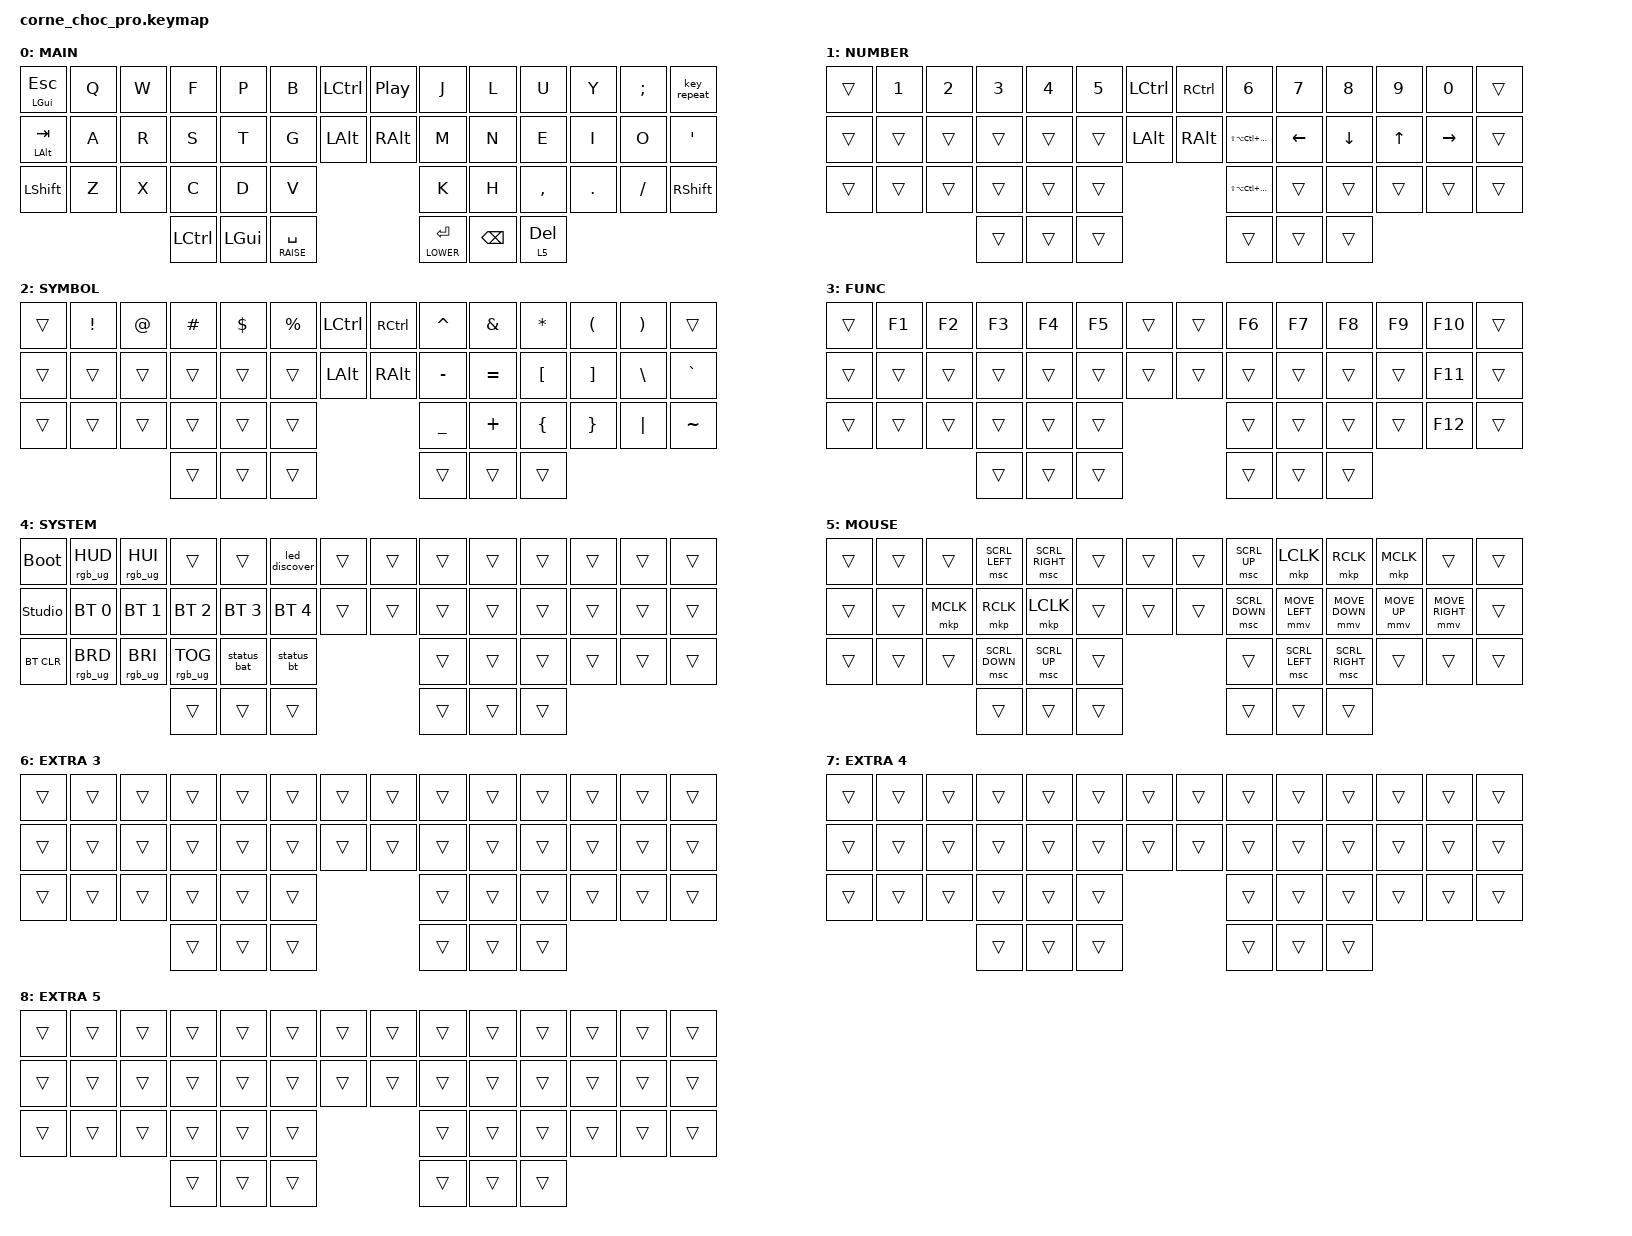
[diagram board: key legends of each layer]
/*
 * Copyright (c) 2020 The ZMK Contributors
 *
 * SPDX-License-Identifier: MIT
 */

#include <behaviors/status_leds.dtsi>
#include <behaviors.dtsi>
#include <dt-bindings/zmk/bt.h>
#include <dt-bindings/zmk/keys.h>
#include <dt-bindings/zmk/pointing.h>
#include <dt-bindings/zmk/rgb.h>

#define DEFAULT 0
#define LOWER   1
#define RAISE   2
#define FUNC    3
#define SYS     4

/ {
    behaviors {
        ht: hold_tap {
            compatible = "zmk,behavior-hold-tap";
            #binding-cells = <2>;
            flavor = "tap-preferred";
            tapping-term-ms = <150>;
            quick-tap-ms = <125>;
            bindings = <&kp>, <&kp>;
        };

        htb: hold_tap_balanced {
            compatible = "zmk,behavior-hold-tap";
            #binding-cells = <2>;
            flavor = "balanced";
            tapping-term-ms = <170>;
            quick-tap-ms = <125>;
            bindings = <&kp>, <&kp>;
        };

        bsht: back_space_hold_tap {
            compatible = "zmk,behavior-hold-tap";
            #binding-cells = <2>;
            flavor = "tap-preferred";
            tapping-term-ms = <150>;
            quick-tap-ms = <100>;
            bindings = <&kp>, <&kp>;
        };

        lt_hp: layer-tap-hold-preferred {
            compatible = "zmk,behavior-hold-tap";
            #binding-cells = <2>;
            tapping-term-ms = <150>;
            quick-tap-ms = <0>;
            flavor = "hold-preferred";
            bindings = <&mo>, <&kp>;
        };

        copy_paste: copy_paste {
            compatible = "zmk,behavior-tap-dance";
            label = "COPY_PASTE";
            #binding-cells = <0>;
            bindings = <&kp LG(C)>, <&kp LG(V)>;

            tapping-term-ms = <300>;
        };
    };
};

/ {
    conditional_layers {
        compatible = "zmk,conditional-layers";

        tri_layer {
            if-layers = <1 2>;
            then-layer = <3>;
        };
    };
};

/ {
    chosen { zmk,physical-layout = &default_layout; };
};

/ {
    combos {
        compatible = "zmk,combos";

        combo_cmd_right {
            bindings = <&kp LGUI>;
            key-positions = <9 23>;
        };

        combo_ctrl_right {
            bindings = <&kp LCTRL>;
            key-positions = <10 24>;
        };

        combo_shift_right {
            bindings = <&kp LSHFT>;
            key-positions = <26 12>;
        };

        combo_cmd_left {
            bindings = <&kp LGUI>;
            key-positions = <4 18>;
        };

        combo_ctrl_left {
            bindings = <&kp LCTRL>;
            key-positions = <3 17>;
        };

        combo_shift_left {
            bindings = <&kp LSHFT>;
            key-positions = <15 1>;
        };

        combo_alt_left {
            bindings = <&kp LALT>;
            key-positions = <2 16>;
        };

        combo_opt_right {
            bindings = <&kp LALT>;
            key-positions = <11 25>;
        };

        hyper_left {
            bindings = <&kp LS(LA(LC(LGUI)))>;
            key-positions = <4 3>;
        };

        hyper_right {
            bindings = <&kp LS(LA(LC(LGUI)))>;
            key-positions = <9 10>;
        };

        meh_left {
            bindings = <&kp LS(LC(LALT))>;
            key-positions = <41 42>;
        };

        combo_meh_right {
            bindings = <&kp LA(LS(LCTRL))>;
            key-positions = <43 44>;
        };

        combo_alt_ctrl_left {
            bindings = <&kp LC(LALT)>;
            key-positions = <19 18>;
        };

        combo_alt_ctrl_shft_left {
            bindings = <&kp LC(LS(LALT))>;
            key-positions = <18 32>;
        };

        tmux_leader_left {
            bindings = <&kp LC(SPACE)>;
            key-positions = <18 17>;
        };

        tmux_leader_right {
            bindings = <&kp LC(SPACE)>;
            key-positions = <23 24>;
        };

        sys_layer {
            bindings = <&mo 4>;
            key-positions = <7 21>;
        };
    };
};

/ {
    status_leds {
        compatible = "zmk,status-leds";
        led-strip = <&led_strip>;
        battery-leds = <18 17 12 11 4 3>;
        bt-leds = <16 13 10 5 2>;
    };
};

/ {
    keymap {
        compatible = "zmk,keymap";

        default_layer {
            display-name = "MAIN";

            // --------------------------------------------------------------------------------
            // |  TAB |  Q  |  W  |  E  |  R  |  T  |  MUTE |  PP   |  Y  |  U   |  I  |  O  |  P  | BSPC |
            // | CTRL |  A  |  S  |  D  |  F  |  G  |  LALT |  RALT |  H  |  J   |  K  |  L  |  ;  |  '   |
            // | SHFT |  Z  |  X  |  C  |  V  |  B  |               |  N  |  M   |  ,  |  .  |  /  | ESC  |
            //                    | CTRL| LGUI| SPC |               | ENT | RSE  | DEL |

            bindings = <
&ht LGUI ESC  &kp Q  &kp W  &kp F      &kp P     &kp B               &kp LCTRL  &kp C_PP  &kp J             &kp L     &kp U         &kp Y    &kp SEMI  &key_repeat
&ht LALT TAB  &kp A  &kp R  &kp S      &kp T     &kp G               &kp LALT   &kp RALT  &kp M             &kp N     &kp E         &kp I    &kp O     &kp SQT
&kp LSHFT     &kp Z  &kp X  &kp C      &kp D     &kp V                                    &kp K             &kp H     &kp COMMA     &kp DOT  &kp FSLH  &kp RSHIFT
                            &kp LCTRL  &kp LGUI  &lt_hp RAISE SPACE                       &lt_hp LOWER RET  &kp BSPC  &lt_hp 5 DEL
            >;
        };

        lower_layer {
            display-name = "NUMBER";

            // -----------------------------------------------------------------------------------------
            // |  TAB |  1  |  2  |  3  |  4  |  5    |  LCTRL | RCTRL |  6  |  7  |  8  |  9  |  0  | BSPC |
            // | CTRL | BT1 | BT2 | BT3 | BT4 | BT5   |  LALT  | RALT  | LFT | DWN |  UP | RGT |     |      |
            // | SHFT | BTCR| RGB | RST | BOOT| Unlock|        |       |     |     |     |     |     |      |
            //                    |     |     |       |        |       |     |     |

            bindings = <
&trans  &kp N1  &kp N2  &kp N3  &kp N4  &kp N5  &kp LCTRL  &kp RCTRL  &kp N6                     &kp N7    &kp N8    &kp N9  &kp N0     &trans
&trans  &trans  &trans  &trans  &trans  &trans  &kp LALT   &kp RALT   &kp LS(LA(LC(LG(RIGHT))))  &kp LEFT  &kp DOWN  &kp UP  &kp RIGHT  &trans
&trans  &trans  &trans  &trans  &trans  &trans                        &kp LS(LA(LC(LG(LEFT))))   &trans    &trans    &trans  &trans     &trans
                        &trans  &trans  &trans                        &trans                     &trans    &trans
            >;
        };

        raise_layer {
            display-name = "SYMBOL";

            // -----------------------------------------------------------------------------------------
            // |  TAB |  !  |  @  |  #  |  $  |  %  | LCTRL | RCTRL |  ^  |  &  |  *  |  (  |  )  | BSPC |
            // | CTRL | HUD | HUI |     |     |     |  LALT | RALT  |  -  |  =  |  [  |  ]  |  \  |  `   |
            // | SHFT |     |     |     |     |     |               |  _  |  +  |  {  |  }  | "|" |  ~   |
            //                    | GUI |     | SPC |               | ENT |     | ALT |

            bindings = <
&trans  &kp EXCL  &kp AT  &kp HASH  &kp DLLR  &kp PRCNT  &kp LCTRL  &kp RCTRL  &kp CARET  &kp AMPS   &kp ASTRK  &kp LPAR  &kp RPAR  &trans
&trans  &trans    &trans  &trans    &trans    &trans     &kp LALT   &kp RALT   &kp MINUS  &kp EQUAL  &kp LBKT   &kp RBKT  &kp BSLH  &kp GRAVE
&trans  &trans    &trans  &trans    &trans    &trans                           &kp UNDER  &kp PLUS   &kp LBRC   &kp RBRC  &kp PIPE  &kp TILDE
                          &trans    &trans    &trans                           &trans     &trans     &trans
            >;
        };

        func_layer {
            display-name = "FUNC";

            // -----------------------------------------------------------------------------------------
            // |  TAB |  !  |  @  |  #  |  $  |  %  | LCTRL | RCTRL |  ^  |  &  |  *  |  (  |  )  | BSPC |
            // | CTRL | HUD | HUI |     |     |     |  LALT | RALT  |  -  |  =  |  [  |  ]  |  \  |  `   |
            // | SHFT |     |     |     |     |     |               |  _  |  +  |  {  |  }  | "|" |  ~   |
            //                    | GUI |     | SPC |               | ENT |     | ALT |

            bindings = <
&trans  &kp F1  &kp F2  &kp F3  &kp F4  &kp F5  &trans  &trans  &kp F6  &kp F7  &kp F8  &kp F9  &kp F10  &trans
&trans  &trans  &trans  &trans  &trans  &trans  &trans  &trans  &trans  &trans  &trans  &trans  &kp F11  &trans
&trans  &trans  &trans  &trans  &trans  &trans                  &trans  &trans  &trans  &trans  &kp F12  &trans
                        &trans  &trans  &trans                  &trans  &trans  &trans
            >;
        };

        system_layer {
            display-name = "SYSTEM";
            bindings = <
&bootloader     &rgb_ug RGB_HUD  &rgb_ug RGB_HUI  &trans           &trans        &led_discover  &trans  &trans  &trans  &trans  &trans  &trans  &trans  &trans
&studio_unlock  &bt BT_SEL 0     &bt BT_SEL 1     &bt BT_SEL 2     &bt BT_SEL 3  &bt BT_SEL 4   &trans  &trans  &trans  &trans  &trans  &trans  &trans  &trans
&bt BT_CLR      &rgb_ug RGB_BRD  &rgb_ug RGB_BRI  &rgb_ug RGB_TOG  &status_bat   &status_bt                     &trans  &trans  &trans  &trans  &trans  &trans
                                                  &trans           &trans        &trans                         &trans  &trans  &trans
            >;
        };

        mouse_layer {
            display-name = "MOUSE";
            bindings = <
&trans  &trans  &trans     &msc SCRL_LEFT  &msc SCRL_RIGHT  &trans  &trans  &trans  &msc SCRL_UP    &mkp LCLK       &mkp RCLK        &mkp MCLK     &trans           &trans
&trans  &trans  &mkp MCLK  &mkp RCLK       &mkp LCLK        &trans  &trans  &trans  &msc SCRL_DOWN  &mmv MOVE_LEFT  &mmv MOVE_DOWN   &mmv MOVE_UP  &mmv MOVE_RIGHT  &trans
&trans  &trans  &trans     &msc SCRL_DOWN  &msc SCRL_UP     &trans                  &trans          &msc SCRL_LEFT  &msc SCRL_RIGHT  &trans        &trans           &trans
                           &trans          &trans           &trans                  &trans          &trans          &trans
            >;
        };

        extra_layer_3 {
            display-name = "EXTRA 3";
            bindings = <
&trans  &trans  &trans  &trans  &trans  &trans  &trans  &trans  &trans  &trans  &trans  &trans  &trans  &trans
&trans  &trans  &trans  &trans  &trans  &trans  &trans  &trans  &trans  &trans  &trans  &trans  &trans  &trans
&trans  &trans  &trans  &trans  &trans  &trans                  &trans  &trans  &trans  &trans  &trans  &trans
                        &trans  &trans  &trans                  &trans  &trans  &trans
            >;
        };

        extra_layer_4 {
            display-name = "EXTRA 4";
            bindings = <
&trans  &trans  &trans  &trans  &trans  &trans  &trans  &trans  &trans  &trans  &trans  &trans  &trans  &trans
&trans  &trans  &trans  &trans  &trans  &trans  &trans  &trans  &trans  &trans  &trans  &trans  &trans  &trans
&trans  &trans  &trans  &trans  &trans  &trans                  &trans  &trans  &trans  &trans  &trans  &trans
                        &trans  &trans  &trans                  &trans  &trans  &trans
            >;
        };

        extra_layer_5 {
            display-name = "EXTRA 5";
            bindings = <
&trans  &trans  &trans  &trans  &trans  &trans  &trans  &trans  &trans  &trans  &trans  &trans  &trans  &trans
&trans  &trans  &trans  &trans  &trans  &trans  &trans  &trans  &trans  &trans  &trans  &trans  &trans  &trans
&trans  &trans  &trans  &trans  &trans  &trans                  &trans  &trans  &trans  &trans  &trans  &trans
                        &trans  &trans  &trans                  &trans  &trans  &trans
            >;
        };
    };
};
